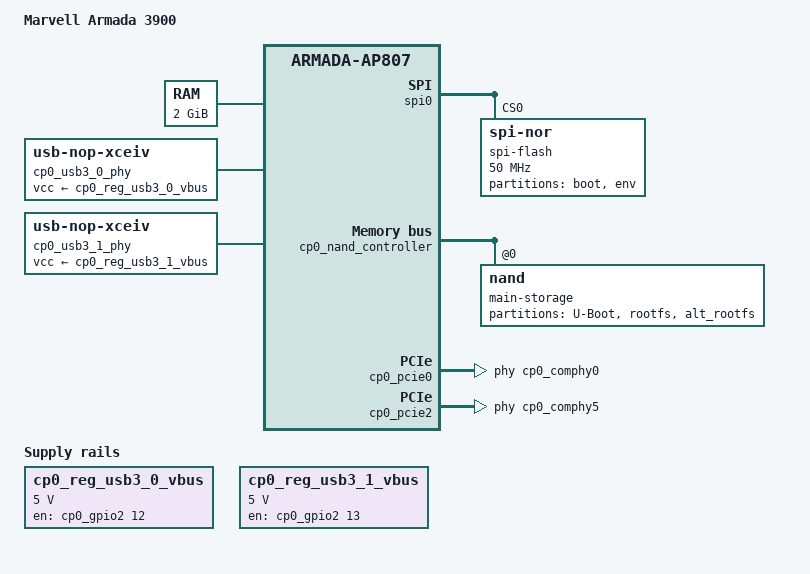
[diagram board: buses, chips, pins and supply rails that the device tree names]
// SPDX-License-Identifier: (GPL-2.0+ OR MIT)
/*
 * Device Tree file for Marvell Armada 7040 development board platform
 */

#include <dt-bindings/gpio/gpio.h>
#include "armada-3900.dtsi"

/ {
	model = "Marvell Armada 3900";
	compatible = "marvell,armada3900", "marvell,armada-ap807-quad",
		     "marvell,armada-ap807";
	#address-cells = <2>;
	#size-cells = <2>;

	memory@0 {
		device_type = "memory";
		reg = <0x0 0x0 0x0 0x80000000>;
	};

	/* USB3 VBus controller through GPIO */
	cp0_usb3_0_phy: cp0-usb3-0-phy {
		compatible = "usb-nop-xceiv";
		vcc-supply = <&cp0_reg_usb3_0_vbus>;
	};
	cp0_usb3_1_phy: cp0-usb3-1-phy {
		compatible = "usb-nop-xceiv";
		vcc-supply = <&cp0_reg_usb3_1_vbus>;
	};
	cp0_reg_usb3_0_vbus: cp0_usb3_vbus@0 {
		compatible = "regulator-fixed";
		gpio = <&cp0_gpio2 12 GPIO_ACTIVE_HIGH>;
		regulator-name = "cp0-xhci0-vbus";
		regulator-min-microvolt = <5000000>;
		regulator-max-microvolt = <5000000>;
		enable-active-high;
		regulator-always-on;
	};
	cp0_reg_usb3_1_vbus: cp0_usb3_vbus@1 {
		compatible = "regulator-fixed";
		gpio = <&cp0_gpio2 13 GPIO_ACTIVE_HIGH>;
		regulator-name = "cp0-xhci1-vbus";
		regulator-min-microvolt = <5000000>;
		regulator-max-microvolt = <5000000>;
		enable-active-high;
		regulator-always-on;
	};
};

&uart0 {
	pinctrl-0 = <&uart0_pins>;
	pinctrl-names = "default";
};

&spi0 {
	spi-flash@0 {
		#address-cells = <0x1>;
		#size-cells = <0x1>;
		compatible = "jedec,spi-nor";
		reg = <0x0>;
		spi-max-frequency = <50000000>;
		partition@0 {
			label = "boot";
			reg = <0x0 0x500000>;
		};
		partition@500000 {
			label = "env";
			reg = <0x500000 0xb00000>;
		};
	};
};

&cp0_config_space {
	ranges = /* internal regs */
		 <0x0 0x0 0xf2000000 0x2000000>,
		 /* SPI1-DEV0 */
		 <0x2000000 0 0xf9000000 0x1000000>;
};

&cp0_i2c0 {
	status = "disabled";
	clock-frequency = <100000>;

	eeprom@57 {
		compatible = "atmel,24c64";
		reg = <0x57>;
		pagesize = <32>;
	};

	eeprom@50 {
		compatible = "atmel,24c64";
		reg = <0x50>;
		pagesize = <32>;
	};
};

&cp0_nand_controller {
	nand@0 {
		reg = <0>;
		label = "main-storage";
		nand-rb = <0>;
		nand-ecc-mode = "hw";
		nand-on-flash-bbt;
		nand-ecc-strength = <8>;
		nand-ecc-step-size = <512>;

		partitions {
			compatible = "fixed-partitions";
			#address-cells = <1>;
			#size-cells = <1>;

			partition@0 {
				label = "U-Boot";
				reg = <0 0x400000>;
			};
			partition@1000000 {
				label = "rootfs";
				reg = <0x1000000 0x1f800000>;
			};
			partition@20800000 {
				label = "alt_rootfs";
				reg = <0x20800000 0x1f800000>;
			};
		};
	};
};

&cp0_usb3_0 {
	status = "disabled";
	usb-phy = <&cp0_usb3_0_phy>;
	phys = <&cp0_comphy1 0>;
	phy-names = "usb";
};

&cp0_usb3_1 {
	status = "disabled";
	usb-phy = <&cp0_usb3_1_phy>;
	phys = <&cp0_comphy4 1>;
	phy-names = "usb";
};

&cp0_pcie0 {
	ranges = <0x81000000 0 0xf7000000 0  0xf7000000 0 0x10000
		  0x82000000 0 0xc0000000 0  0xc0000000 0 0x20000000>;
	phys = <&cp0_comphy0 0>;
	phy-names = "pcie-phy0";
};

&cp0_pcie2 {
	ranges = <0x81000000 0 0xf7020000 0  0xf7020000 0 0x10000
		  0x82000000 0 0xf8000000 0  0xf8000000 0 0xf00000>;
	phys = <&cp0_comphy5 2>;
	phy-names = "pcie-phy2";
};


